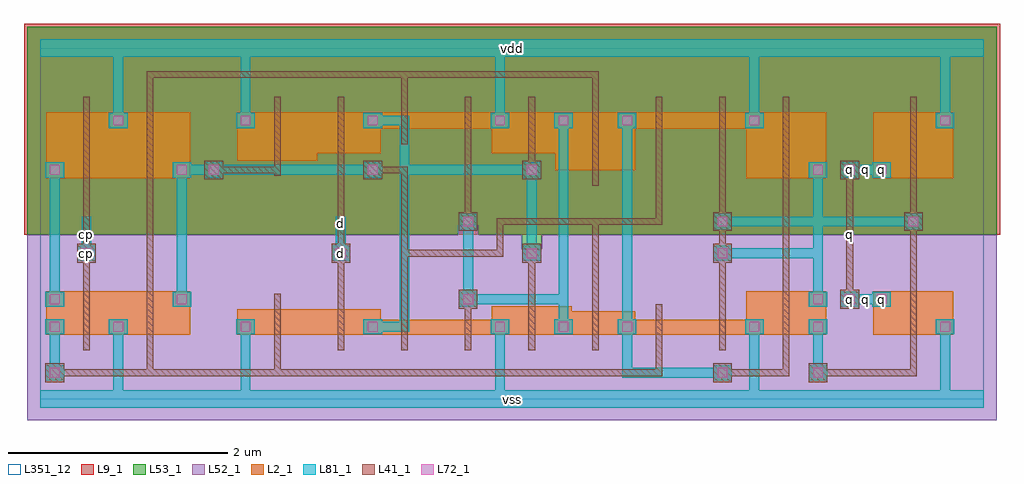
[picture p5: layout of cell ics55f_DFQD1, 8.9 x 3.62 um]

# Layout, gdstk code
import gdstk
lib = gdstk.Library(unit=1e-6, precision=1e-09)
def R(c, l, rs):  # rectangles x0, y0, x1, y1
    for r in rs: c.add(gdstk.rectangle(r[:2], r[2:], *l))
def A(c, l, x, y, w, h, nx, ny, dx, dy):  # array of equal rectangles
    R(c, l, [(x+i*dx, y+j*dy, x+i*dx+w, y+j*dy+h) for i in range(nx) for j in range(ny)])
def P(c, l, *ps):  # polygons
    for p in ps: c.add(gdstk.Polygon(p, *l))
L0_0 = (0, 0)
L2_1 = (2, 1)
L9_1 = (9, 1)
L41_1 = (41, 1)
L52_1 = (52, 1)
L53_1 = (53, 1)
L72_1 = (72, 1)
L81_1 = (81, 1)
L351_12 = (351, 12)

ics55f_dfqd1 = lib.new_cell('ics55f_DFQD1')
A(ics55f_dfqd1, L2_1, 0.635, 0.585, 0.15, 0.15, 4, 2, 1.16, 1.88)
R(ics55f_dfqd1, L2_1, [(0.055,0.585,0.785,0.985), (0.055,0.585,0.205,0.735), (0.635,0.585,1.365,0.985), (1.795,0.585,2.525,0.82), (2.375,0.585,3.105,0.82), (2.955,0.585,3.685,0.725), (3.535,0.585,4.265,0.725), (4.115,0.585,4.845,0.845), (4.695,0.585,5.425,0.8), (4.695,0.585,4.845,0.735), (5.275,0.585,6.005,0.725), (5.275,0.585,5.425,0.735), (5.855,0.585,6.585,0.725), (6.435,0.585,7.165,0.985), (6.435,0.585,6.585,0.735), (7.015,0.585,7.165,0.735), (7.595,0.585,8.325,0.985), (8.175,0.585,8.325,0.735), (0.055,0.835,0.205,0.985), (1.215,0.835,1.365,0.985), (7.015,0.835,7.165,0.985), (7.595,0.835,7.745,0.985), (0.055,2.015,0.785,2.615), (0.055,2.015,0.205,2.165), (0.635,2.015,1.365,2.615), (1.215,2.015,1.365,2.165), (6.435,2.015,7.165,2.615), (7.015,2.015,7.165,2.165), (7.595,2.015,8.325,2.615), (7.595,2.015,7.745,2.165), (4.695,2.085,5.425,2.615), (1.795,2.175,2.525,2.615), (2.375,2.24,3.105,2.615), (4.115,2.24,4.845,2.615), (2.955,2.465,3.685,2.615), (3.535,2.465,4.265,2.615), (4.695,2.465,4.845,2.615), (5.275,2.465,6.005,2.615), (5.275,2.465,5.425,2.615), (5.855,2.465,6.585,2.615), (6.435,2.465,6.585,2.615), (8.175,2.465,8.325,2.615)])
R(ics55f_dfqd1, L9_1, [(-0.15,1.5,8.75,3.425)])
A(ics55f_dfqd1, L41_1, 5.61, 0.21, 0.06, 0.48, 3, 1, 1.16, 0)
A(ics55f_dfqd1, L41_1, 6.77, 0.88, 0.06, 1.24, 3, 1, 0.58, 0)
A(ics55f_dfqd1, L41_1, 2.655, 1.245, 0.17, 0.17, 3, 1, 1.74, 0)
A(ics55f_dfqd1, L41_1, 1.495, 2.005, 0.17, 0.17, 3, 1, 1.45, 0)
R(ics55f_dfqd1, L41_1, [(0.045,0.155,0.215,0.325), (6.135,0.155,6.305,0.325), (7.005,0.155,7.175,0.325), (0.1,0.21,1.03,0.27), (0.97,0.21,1.03,0.69), (0.97,0.21,2.19,0.27), (2.13,0.21,2.19,0.69), (2.13,0.21,5.67,0.27), (6.19,0.21,6.83,0.27), (7.06,0.21,7.99,0.27), (0.39,0.445,0.45,1.125), (0.97,0.445,1.03,1.125), (2.13,0.445,2.19,0.96), (2.71,0.445,2.77,0.96), (3.29,0.445,3.35,0.865), (3.87,0.445,3.93,0.865), (4.45,0.445,4.51,0.985), (5.03,0.445,5.09,0.94), (5.61,0.445,5.67,0.865), (6.19,0.445,6.25,0.865), (6.77,0.445,6.83,1.125), (7.93,0.445,7.99,1.125), (2.71,0.63,2.77,2.57), (3.29,0.63,3.35,2.12), (3.87,0.63,3.93,0.94), (4.45,0.63,4.51,1.36), (5.03,0.63,5.09,1.65), (6.19,0.63,6.25,1.36), (3.815,0.825,3.985,0.995), (7.295,0.825,7.465,0.995), (0.39,0.88,0.45,2.12), (0.97,0.88,1.03,2.12), (6.19,0.88,6.25,1.36), (0.335,1.245,0.505,1.415), (3.29,1.3,4.22,1.36), (4.16,1.3,4.22,1.65), (6.19,1.3,6.25,2.57), (3.815,1.535,3.985,1.705), (6.135,1.535,6.305,1.705), (7.875,1.535,8.045,1.705), (3.87,1.59,3.93,2.57), (4.16,1.59,5.67,1.65), (5.61,1.59,5.67,2.57), (0.39,1.875,0.45,2.755), (0.97,1.875,1.03,2.755), (6.77,1.875,6.83,2.755), (7.93,1.875,7.99,2.755), (5.03,1.945,5.09,2.755), (7.295,2.005,7.465,2.175), (2.13,2.035,2.19,2.755), (0.97,2.06,1.03,2.99), (1.55,2.06,2.19,2.12), (2.13,2.06,2.19,2.57), (3,2.06,3.35,2.12), (4.45,2.06,4.51,2.57), (2.71,2.1,2.77,2.755), (4.45,2.1,4.51,2.755), (3.29,2.325,3.35,2.755), (3.87,2.325,3.93,2.755), (5.61,2.325,5.67,2.755), (6.19,2.325,6.25,2.755), (3.29,2.51,3.35,2.99), (5.03,2.51,5.09,2.99), (0.97,2.93,3.35,2.99), (3.29,2.93,5.09,2.99)])
P(ics55f_dfqd1, L52_1, [(-0.12,-0.195),(-0.12,1.5),(3.81,1.5),(3.81,1.585),(3.99,1.585),(3.99,1.5),(4.39,1.5),(4.39,1.365),(4.57,1.365),(4.57,1.5),(8.72,1.5),(8.72,-0.195)])
P(ics55f_dfqd1, L53_1, [(4.39,1.365),(4.39,1.5),(3.99,1.5),(3.99,1.585),(3.81,1.585),(3.81,1.5),(-0.12,1.5),(-0.12,3.395),(8.72,3.395),(8.72,1.5),(4.57,1.5),(4.57,1.365)])
A(ics55f_dfqd1, L72_1, 0.665, 0.615, 0.09, 0.09, 4, 2, 1.16, 1.88)
A(ics55f_dfqd1, L72_1, 7.045, 0.865, 0.09, 0.09, 3, 2, 0.29, 1.18)
A(ics55f_dfqd1, L72_1, 2.695, 1.285, 0.09, 0.09, 3, 1, 1.74, 0)
A(ics55f_dfqd1, L72_1, 1.535, 2.045, 0.09, 0.09, 3, 1, 1.45, 0)
R(ics55f_dfqd1, L72_1, [(0.085,0.195,0.175,0.285), (6.175,0.195,6.265,0.285), (7.045,0.195,7.135,0.285), (0.085,0.615,0.175,0.705), (4.725,0.615,4.815,0.705), (5.305,0.615,5.395,0.705), (6.465,0.615,6.555,0.705), (7.045,0.615,7.135,0.705), (8.205,0.615,8.295,0.705), (0.085,0.865,0.175,0.955), (1.245,0.865,1.335,0.955), (3.855,0.865,3.945,0.955), (0.375,1.285,0.465,1.375), (3.855,1.575,3.945,1.665), (6.175,1.575,6.265,1.665), (7.915,1.575,8.005,1.665), (0.085,2.045,0.175,2.135), (1.245,2.045,1.335,2.135), (4.725,2.495,4.815,2.585), (5.305,2.495,5.395,2.585), (6.465,2.495,6.555,2.585), (8.205,2.495,8.295,2.585)])
P(ics55f_dfqd1, L81_1, [(0.045,0.17),(0.045,0.31),(0.085,0.31),(0.085,0.59),(0.045,0.59),(0.045,0.73),(0.215,0.73),(0.215,0.59),(0.175,0.59),(0.175,0.31),(0.215,0.31),(0.215,0.17)],
  [(7.005,0.17),(7.005,0.31),(7.045,0.31),(7.045,0.59),(7.005,0.59),(7.005,0.73),(7.175,0.73),(7.175,0.59),(7.135,0.59),(7.135,0.31),(7.175,0.31),(7.175,0.17)],
  [(0,-0.08),(0,0.08),(0.665,0.08),(0.665,0.59),(0.625,0.59),(0.625,0.73),(0.795,0.73),(0.795,0.59),(0.755,0.59),(0.755,0.08),(1.825,0.08),(1.825,0.59),(1.785,0.59),(1.785,0.73),(1.955,0.73),(1.955,0.59),(1.915,0.59),(1.915,0.08),(4.145,0.08),(4.145,0.59),(4.105,0.59),(4.105,0.73),(4.275,0.73),(4.275,0.59),(4.235,0.59),(4.235,0.08),(6.465,0.08),(6.465,0.59),(6.425,0.59),(6.425,0.73),(6.595,0.73),(6.595,0.59),(6.555,0.59),(6.555,0.08),(8.205,0.08),(8.205,0.59),(8.165,0.59),(8.165,0.73),(8.335,0.73),(8.335,0.59),(8.295,0.59),(8.295,0.08),(8.6,0.08),(8.6,-0.08)],
  [(7.295,0.84),(7.295,0.98),(7.465,0.98),(7.465,0.955),(7.585,0.955),(7.585,0.98),(7.755,0.98),(7.755,0.84),(7.585,0.84),(7.585,0.865),(7.465,0.865),(7.465,0.84)],
  [(0.335,1.26),(0.335,1.4),(0.375,1.4),(0.375,1.665),(0.465,1.665),(0.465,1.4),(0.505,1.4),(0.505,1.26)],
  [(2.655,1.26),(2.655,1.4),(2.695,1.4),(2.695,1.665),(2.785,1.665),(2.785,1.4),(2.825,1.4),(2.825,1.26)],
  [(0.045,0.84),(0.045,0.98),(0.085,0.98),(0.085,2.02),(0.045,2.02),(0.045,2.16),(0.215,2.16),(0.215,2.02),(0.175,2.02),(0.175,0.98),(0.215,0.98),(0.215,0.84)],
  [(1.205,0.84),(1.205,0.98),(1.245,0.98),(1.245,2.02),(1.205,2.02),(1.205,2.16),(1.375,2.16),(1.375,2.135),(1.495,2.135),(1.495,2.16),(1.665,2.16),(1.665,2.135),(2.945,2.135),(2.945,2.16),(3.115,2.16),(3.115,2.02),(2.945,2.02),(2.945,2.045),(1.665,2.045),(1.665,2.02),(1.495,2.02),(1.495,2.045),(1.375,2.045),(1.375,2.02),(1.335,2.02),(1.335,0.98),(1.375,0.98),(1.375,0.84)],
  [(7.005,0.84),(7.005,0.98),(7.045,0.98),(7.045,1.285),(6.305,1.285),(6.305,1.26),(6.135,1.26),(6.135,1.4),(6.305,1.4),(6.305,1.375),(7.045,1.375),(7.045,1.575),(6.305,1.575),(6.305,1.55),(6.135,1.55),(6.135,1.69),(6.305,1.69),(6.305,1.665),(7.045,1.665),(7.045,2.02),(7.005,2.02),(7.005,2.16),(7.175,2.16),(7.175,2.02),(7.135,2.02),(7.135,1.665),(7.875,1.665),(7.875,1.69),(8.045,1.69),(8.045,1.55),(7.875,1.55),(7.875,1.575),(7.135,1.575),(7.135,0.98),(7.175,0.98),(7.175,0.84)],
  [(7.295,2.02),(7.295,2.16),(7.465,2.16),(7.465,2.135),(7.585,2.135),(7.585,2.16),(7.755,2.16),(7.755,2.02),(7.585,2.02),(7.585,2.045),(7.465,2.045),(7.465,2.02)],
  [(2.945,0.59),(2.945,0.73),(3.115,0.73),(3.115,0.705),(3.275,0.705),(3.275,2.495),(3.115,2.495),(3.115,2.47),(2.945,2.47),(2.945,2.61),(3.115,2.61),(3.115,2.585),(3.365,2.585),(3.365,2.135),(4.395,2.135),(4.395,2.16),(4.565,2.16),(4.565,2.02),(4.525,2.02),(4.525,1.4),(4.565,1.4),(4.565,1.26),(4.395,1.26),(4.395,1.4),(4.435,1.4),(4.435,2.02),(4.395,2.02),(4.395,2.045),(3.365,2.045),(3.365,0.615),(3.115,0.615),(3.115,0.59)],
  [(4.685,0.59),(4.685,0.73),(4.725,0.73),(4.725,0.865),(3.985,0.865),(3.985,0.84),(3.815,0.84),(3.815,0.98),(3.855,0.98),(3.855,1.55),(3.815,1.55),(3.815,1.69),(3.985,1.69),(3.985,1.55),(3.945,1.55),(3.945,0.98),(3.985,0.98),(3.985,0.955),(4.725,0.955),(4.725,2.47),(4.685,2.47),(4.685,2.61),(4.855,2.61),(4.855,2.47),(4.815,2.47),(4.815,0.73),(4.855,0.73),(4.855,0.59)],
  [(6.135,0.17),(6.135,0.195),(5.305,0.195),(5.305,0.59),(5.265,0.59),(5.265,0.73),(5.305,0.73),(5.305,2.47),(5.265,2.47),(5.265,2.61),(5.435,2.61),(5.435,2.47),(5.395,2.47),(5.395,0.73),(5.435,0.73),(5.435,0.59),(5.395,0.59),(5.395,0.285),(6.135,0.285),(6.135,0.31),(6.305,0.31),(6.305,0.17)],
  [(0.625,2.47),(0.625,2.61),(0.665,2.61),(0.665,3.12),(0,3.12),(0,3.28),(8.6,3.28),(8.6,3.12),(8.295,3.12),(8.295,2.61),(8.335,2.61),(8.335,2.47),(8.165,2.47),(8.165,2.61),(8.205,2.61),(8.205,3.12),(6.555,3.12),(6.555,2.61),(6.595,2.61),(6.595,2.47),(6.425,2.47),(6.425,2.61),(6.465,2.61),(6.465,3.12),(4.235,3.12),(4.235,2.61),(4.275,2.61),(4.275,2.47),(4.105,2.47),(4.105,2.61),(4.145,2.61),(4.145,3.12),(1.915,3.12),(1.915,2.61),(1.955,2.61),(1.955,2.47),(1.785,2.47),(1.785,2.61),(1.825,2.61),(1.825,3.12),(0.755,3.12),(0.755,2.61),(0.795,2.61),(0.795,2.47)])
R(ics55f_dfqd1, L351_12, [(0,0,8.6,3.2)])
ics55f_dfqd1.add(gdstk.FlexPath([(0.045,0.24),(8.335,0.24)], 0, ends="flush", simple_path=True, layer=0, datatype=0))  # L0_0
ics55f_dfqd1.add(gdstk.FlexPath([(0.045,0.66),(8.335,0.66)], 0, ends="flush", simple_path=True, layer=0, datatype=0))  # L0_0
ics55f_dfqd1.add(gdstk.FlexPath([(0.045,0.91),(8.335,0.91)], 0, ends="flush", simple_path=True, layer=0, datatype=0))  # L0_0
ics55f_dfqd1.add(gdstk.FlexPath([(0.045,1.33),(8.335,1.33)], 0, ends="flush", simple_path=True, layer=0, datatype=0))  # L0_0
ics55f_dfqd1.add(gdstk.FlexPath([(0.045,1.62),(8.335,1.62)], 0, ends="flush", simple_path=True, layer=0, datatype=0))  # L0_0
ics55f_dfqd1.add(gdstk.FlexPath([(0.045,2.09),(8.335,2.09)], 0, ends="flush", simple_path=True, layer=0, datatype=0))  # L0_0
ics55f_dfqd1.add(gdstk.FlexPath([(0.045,2.54),(8.335,2.54)], 0, ends="flush", simple_path=True, layer=0, datatype=0))  # L0_0
ics55f_dfqd1.add(gdstk.FlexPath([(0.045,2.96),(8.335,2.96)], 0, ends="flush", simple_path=True, layer=0, datatype=0))  # L0_0
ics55f_dfqd1.add(gdstk.FlexPath([(0.13,0.03),(0.13,3.17)], 0, ends="flush", simple_path=True, layer=0, datatype=0))  # L0_0
ics55f_dfqd1.add(gdstk.FlexPath([(0.42,0.03),(0.42,3.17)], 0, ends="flush", simple_path=True, layer=0, datatype=0))  # L0_0
ics55f_dfqd1.add(gdstk.FlexPath([(0.71,0.03),(0.71,3.17)], 0, ends="flush", simple_path=True, layer=0, datatype=0))  # L0_0
ics55f_dfqd1.add(gdstk.FlexPath([(1,0.03),(1,3.17)], 0, ends="flush", simple_path=True, layer=0, datatype=0))  # L0_0
ics55f_dfqd1.add(gdstk.FlexPath([(1.29,0.03),(1.29,3.17)], 0, ends="flush", simple_path=True, layer=0, datatype=0))  # L0_0
ics55f_dfqd1.add(gdstk.FlexPath([(1.58,0.03),(1.58,3.17)], 0, ends="flush", simple_path=True, layer=0, datatype=0))  # L0_0
ics55f_dfqd1.add(gdstk.FlexPath([(1.87,0.03),(1.87,3.17)], 0, ends="flush", simple_path=True, layer=0, datatype=0))  # L0_0
ics55f_dfqd1.add(gdstk.FlexPath([(2.16,0.03),(2.16,3.17)], 0, ends="flush", simple_path=True, layer=0, datatype=0))  # L0_0
ics55f_dfqd1.add(gdstk.FlexPath([(2.45,0.03),(2.45,3.17)], 0, ends="flush", simple_path=True, layer=0, datatype=0))  # L0_0
ics55f_dfqd1.add(gdstk.FlexPath([(2.74,0.03),(2.74,3.17)], 0, ends="flush", simple_path=True, layer=0, datatype=0))  # L0_0
ics55f_dfqd1.add(gdstk.FlexPath([(3.03,0.03),(3.03,3.17)], 0, ends="flush", simple_path=True, layer=0, datatype=0))  # L0_0
ics55f_dfqd1.add(gdstk.FlexPath([(3.32,0.03),(3.32,3.17)], 0, ends="flush", simple_path=True, layer=0, datatype=0))  # L0_0
ics55f_dfqd1.add(gdstk.FlexPath([(3.61,0.03),(3.61,3.17)], 0, ends="flush", simple_path=True, layer=0, datatype=0))  # L0_0
ics55f_dfqd1.add(gdstk.FlexPath([(3.9,0.03),(3.9,3.17)], 0, ends="flush", simple_path=True, layer=0, datatype=0))  # L0_0
ics55f_dfqd1.add(gdstk.FlexPath([(4.19,0.03),(4.19,3.17)], 0, ends="flush", simple_path=True, layer=0, datatype=0))  # L0_0
ics55f_dfqd1.add(gdstk.FlexPath([(4.48,0.03),(4.48,3.17)], 0, ends="flush", simple_path=True, layer=0, datatype=0))  # L0_0
ics55f_dfqd1.add(gdstk.FlexPath([(4.77,0.03),(4.77,3.17)], 0, ends="flush", simple_path=True, layer=0, datatype=0))  # L0_0
ics55f_dfqd1.add(gdstk.FlexPath([(5.06,0.03),(5.06,3.17)], 0, ends="flush", simple_path=True, layer=0, datatype=0))  # L0_0
ics55f_dfqd1.add(gdstk.FlexPath([(5.35,0.03),(5.35,3.17)], 0, ends="flush", simple_path=True, layer=0, datatype=0))  # L0_0
ics55f_dfqd1.add(gdstk.FlexPath([(5.64,0.03),(5.64,3.17)], 0, ends="flush", simple_path=True, layer=0, datatype=0))  # L0_0
ics55f_dfqd1.add(gdstk.FlexPath([(5.93,0.03),(5.93,3.17)], 0, ends="flush", simple_path=True, layer=0, datatype=0))  # L0_0
ics55f_dfqd1.add(gdstk.FlexPath([(6.22,0.03),(6.22,3.17)], 0, ends="flush", simple_path=True, layer=0, datatype=0))  # L0_0
ics55f_dfqd1.add(gdstk.FlexPath([(6.51,0.03),(6.51,3.17)], 0, ends="flush", simple_path=True, layer=0, datatype=0))  # L0_0
ics55f_dfqd1.add(gdstk.FlexPath([(6.8,0.03),(6.8,3.17)], 0, ends="flush", simple_path=True, layer=0, datatype=0))  # L0_0
ics55f_dfqd1.add(gdstk.FlexPath([(7.09,0.03),(7.09,3.17)], 0, ends="flush", simple_path=True, layer=0, datatype=0))  # L0_0
ics55f_dfqd1.add(gdstk.FlexPath([(7.38,0.03),(7.38,3.17)], 0, ends="flush", simple_path=True, layer=0, datatype=0))  # L0_0
ics55f_dfqd1.add(gdstk.FlexPath([(7.67,0.03),(7.67,3.17)], 0, ends="flush", simple_path=True, layer=0, datatype=0))  # L0_0
ics55f_dfqd1.add(gdstk.FlexPath([(7.96,0.03),(7.96,3.17)], 0, ends="flush", simple_path=True, layer=0, datatype=0))  # L0_0
ics55f_dfqd1.add(gdstk.FlexPath([(8.25,0.03),(8.25,3.17)], 0, ends="flush", simple_path=True, layer=0, datatype=0))  # L0_0
ics55f_dfqd1.add(gdstk.Label('q', (7.67,0.91), layer=2, texttype=1))
ics55f_dfqd1.add(gdstk.Label('q', (7.67,2.09), layer=2, texttype=1))
ics55f_dfqd1.add(gdstk.Label('d', (2.74,1.6), layer=41, texttype=1))
ics55f_dfqd1.add(gdstk.Label('d', (2.74,1.33), layer=41, texttype=1))
ics55f_dfqd1.add(gdstk.Label('cp', (0.42,1.5), layer=41, texttype=1))
ics55f_dfqd1.add(gdstk.Label('cp', (0.42,1.33), layer=41, texttype=1))
ics55f_dfqd1.add(gdstk.Label('q', (7.38,0.91), layer=41, texttype=1))
ics55f_dfqd1.add(gdstk.Label('q', (7.38,1.5), layer=41, texttype=1))
ics55f_dfqd1.add(gdstk.Label('q', (7.38,2.09), layer=41, texttype=1))
ics55f_dfqd1.add(gdstk.Label('d', (2.74,1.33), layer=72, texttype=1))
ics55f_dfqd1.add(gdstk.Label('cp', (0.42,1.33), layer=72, texttype=1))
ics55f_dfqd1.add(gdstk.Label('q', (7.67,0.91), layer=72, texttype=1))
ics55f_dfqd1.add(gdstk.Label('q', (7.67,2.09), layer=72, texttype=1))
ics55f_dfqd1.add(gdstk.Label('q', (7.38,0.91), layer=72, texttype=1))
ics55f_dfqd1.add(gdstk.Label('q', (7.38,2.09), layer=72, texttype=1))
ics55f_dfqd1.add(gdstk.Label('d', (2.74,1.33), layer=81, texttype=6))
ics55f_dfqd1.add(gdstk.Label('d', (2.74,1.475), layer=81, texttype=6))
ics55f_dfqd1.add(gdstk.Label('cp', (0.42,1.33), layer=81, texttype=6))
ics55f_dfqd1.add(gdstk.Label('cp', (0.42,1.475), layer=81, texttype=6))
ics55f_dfqd1.add(gdstk.Label('q', (7.67,0.91), layer=81, texttype=6))
ics55f_dfqd1.add(gdstk.Label('q', (7.67,2.09), layer=81, texttype=6))
ics55f_dfqd1.add(gdstk.Label('q', (7.525,0.91), layer=81, texttype=6))
ics55f_dfqd1.add(gdstk.Label('q', (7.38,0.91), layer=81, texttype=6))
ics55f_dfqd1.add(gdstk.Label('q', (7.38,2.09), layer=81, texttype=6))
ics55f_dfqd1.add(gdstk.Label('q', (7.525,2.09), layer=81, texttype=6))
ics55f_dfqd1.add(gdstk.Label('vss', (4.3,0), layer=81, texttype=6))
ics55f_dfqd1.add(gdstk.Label('vdd', (4.3,3.2), layer=81, texttype=6))

lib.write_gds('ics55f_DFQD1.gds')
